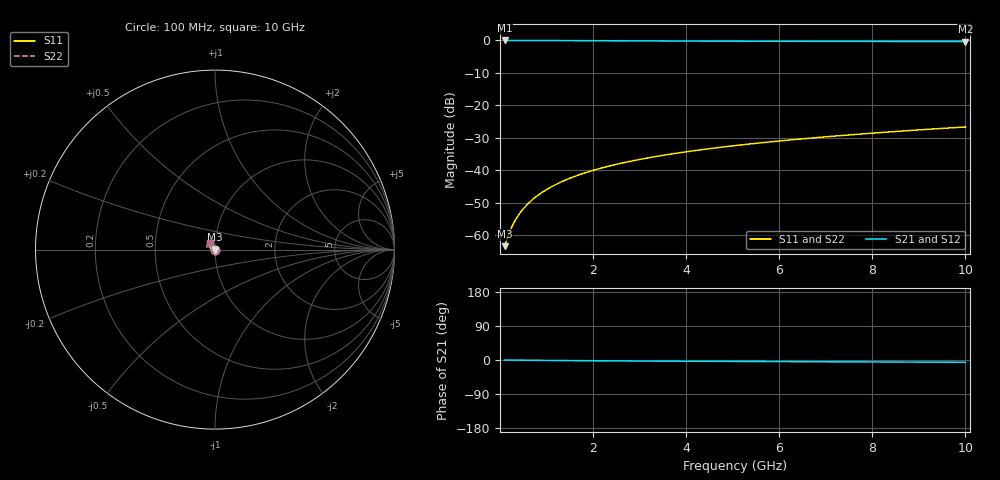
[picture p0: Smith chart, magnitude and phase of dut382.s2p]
! Touchstone file exported from HFSS 2024.1.0
!  File:  C:/UserFiles/LocalFiles/RDL_TSV_Batchsim/temp_TSV1_382_1779622986.aedt
!  Generated:  07:50:56 PM May 24, 2026
!  Design:  TSV1
!  Project:  temp_TSV1_382_1779622986
!  Setup:  Setup1
!  Solution:  Sweep
! Variables:
!  dtsv = 5.62um
!  hbump = 3um
!  htsv = 84.93um
!  lrdl = 252.1521522um
!  p = 40
!  p1 = 59.34um
!  t = 500um
!  trdl = 3um
!  wrdl = 24.89489489um
# GHz S MA R 50.000000
! Terminal data exported
! Port[1] = TSV22_T1
! Port[2] = TSV22_T2
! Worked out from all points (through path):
!   100 points, 100 MHz to 10 GHz, reference 50 ohm
!   highest |S21| = 0.00 dB at 100 MHz (marker M1); lowest = -0.3 dB at 10 GHz (marker M2)
!   lowest |S11| = -63.3 dB at 100 MHz (marker M3), VSWR 1.00, Z = 50 - j0.0526 ohm
!   |S11| at or under -10 dB: start of sweep to end of sweep
!   |S22| runs from -63.3 to -26.6 dB; largest |S21 - S12| = 4.8e-15
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0.1  0.0006825 -50.4  0.9995 -0.1  0.9995 -0.1  0.0006825 -50.4
! Gamma 0 0 0 0
! Port Impedance 50 0 50 0
0.2  0.001106 -71.3  0.9994 -0.2  0.9994 -0.2  0.001106 -71.3
0.3  0.001578 -81.9  0.9993 -0.3  0.9993 -0.3  0.001578 -81.9
0.4  0.002065 -88.9  0.9991 -0.4  0.9991 -0.4  0.002065 -88.9
0.5  0.002561 -94.3  0.9988 -0.6  0.9988 -0.6  0.002561 -94.3
0.6  0.00306 -98.9  0.9985 -0.7  0.9985 -0.7  0.00306 -98.9
0.7  0.003562 -102.9  0.9982 -0.8  0.9982 -0.8  0.003562 -102.9
0.8  0.004064 -106.6  0.9978 -0.9  0.9978 -0.9  0.004064 -106.6
0.9  0.004567 -110.1  0.9974 -1.0  0.9974 -1.0  0.004567 -110.1
1.1  0.005571 -116.5  0.9965 -1.2  0.9965 -1.2  0.005571 -116.5
1.4  0.007067 -125.3  0.9948 -1.5  0.9948 -1.5  0.007067 -125.3
1.8  0.009034 -136.0  0.9924 -1.8  0.9924 -1.8  0.009034 -136.0
2.1  0.01049 -143.3  0.9904 -2.1  0.9904 -2.1  0.01049 -143.3
2.5  0.01239 -152.3  0.9878 -2.4  0.9878 -2.4  0.01239 -152.3
2.9  0.01427 -160.5  0.9852 -2.6  0.9852 -2.6  0.01427 -160.5
3.4  0.01659 -169.7  0.9821 -2.9  0.9821 -2.9  0.01659 -169.7
4.2  0.02023 177.7  0.9778 -3.4  0.9778 -3.4  0.02023 177.7
5.1  0.0243 166.1  0.9738 -3.8  0.9738 -3.8  0.0243 166.1
5.9  0.0279 157.6  0.971 -4.2  0.971 -4.2  0.0279 157.6
6.7  0.03151 150.6  0.9687 -4.5  0.9687 -4.5  0.03151 150.6
8.4  0.03923 138.8  0.9649 -5.3  0.9649 -5.3  0.03923 138.8
10  0.04659 130.6  0.9623 -6.0  0.9623 -6.0  0.04659 130.6
